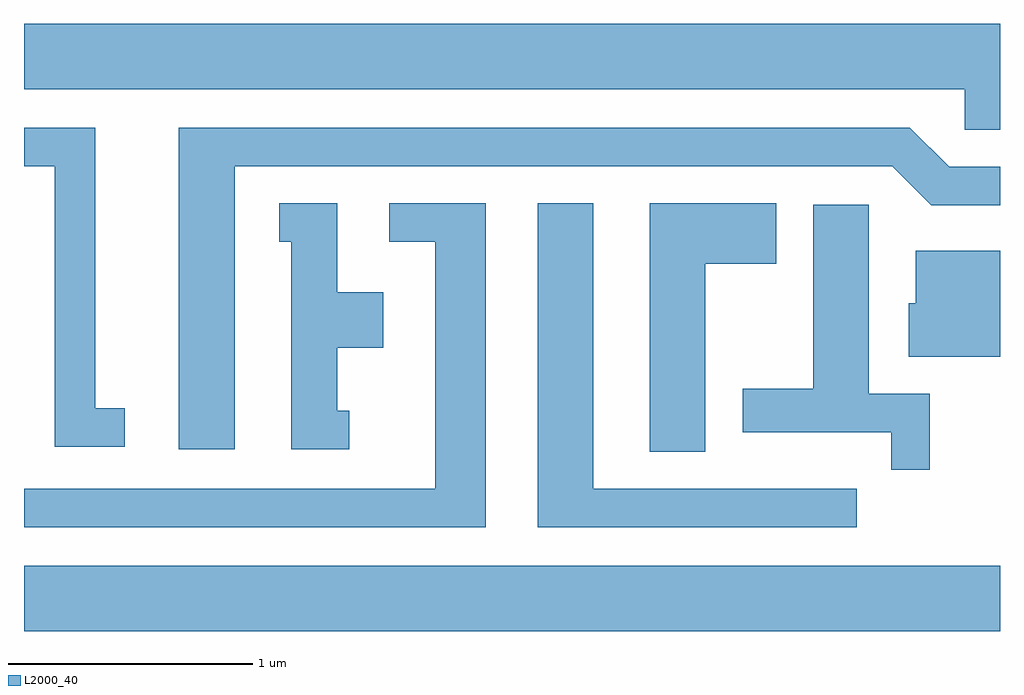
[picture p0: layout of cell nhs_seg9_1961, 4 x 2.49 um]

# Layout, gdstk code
import gdstk
lib = gdstk.Library(unit=1e-6, precision=1e-09)
def R(c, l, rs):  # rectangles x0, y0, x1, y1
    for r in rs: c.add(gdstk.rectangle(r[:2], r[2:], *l))
def P(c, l, *ps):  # polygons
    for p in ps: c.add(gdstk.Polygon(p, *l))
L2000_40 = (2000, 40)

nhs_seg9_1961 = lib.new_cell('nhs_seg9_1961')
R(nhs_seg9_1961, L2000_40, [(241.611,2067.296,245.611,2067.564)])
P(nhs_seg9_1961, L2000_40, [(245.611,2069.784),(241.611,2069.784),(241.611,2069.516),(245.466,2069.516),(245.466,2069.351),(245.611,2069.351)],
  [(242.474,2069.201),(245.169,2069.201),(245.329,2069.041),(245.611,2069.041),(245.611,2069.199),(245.402,2069.199),(245.242,2069.359),(242.246,2069.359),(242.246,2068.041),(242.474,2068.041)],
  [(242.023,2068.209),(241.904,2068.209),(241.904,2069.359),(241.611,2069.359),(241.611,2069.201),(241.736,2069.201),(241.736,2068.051),(242.023,2068.051)],
  [(243.504,2069.049),(243.108,2069.049),(243.108,2068.891),(243.296,2068.891),(243.296,2067.879),(241.611,2067.879),(241.611,2067.721),(243.504,2067.721)],
  [(244.404,2068.801),(244.694,2068.801),(244.694,2069.049),(244.176,2069.049),(244.176,2068.031),(244.404,2068.031)],
  [(245.023,2067.879),(243.944,2067.879),(243.944,2069.049),(243.716,2069.049),(243.716,2067.721),(245.023,2067.721)],
  [(242.943,2068.199),(242.894,2068.199),(242.894,2068.456),(243.084,2068.456),(243.084,2068.684),(242.894,2068.684),(242.894,2069.049),(242.658,2069.049),(242.658,2068.891),(242.706,2068.891),(242.706,2068.041),(242.943,2068.041)],
  [(245.324,2068.269),(245.074,2068.269),(245.074,2069.044),(244.846,2069.044),(244.846,2068.289),(244.556,2068.289),(244.556,2068.111),(245.166,2068.111),(245.166,2067.958),(245.324,2067.958)],
  [(245.611,2068.854),(245.266,2068.854),(245.266,2068.639),(245.236,2068.639),(245.236,2068.421),(245.611,2068.421)])

lib.write_gds('nhs_seg9_1961.gds')
